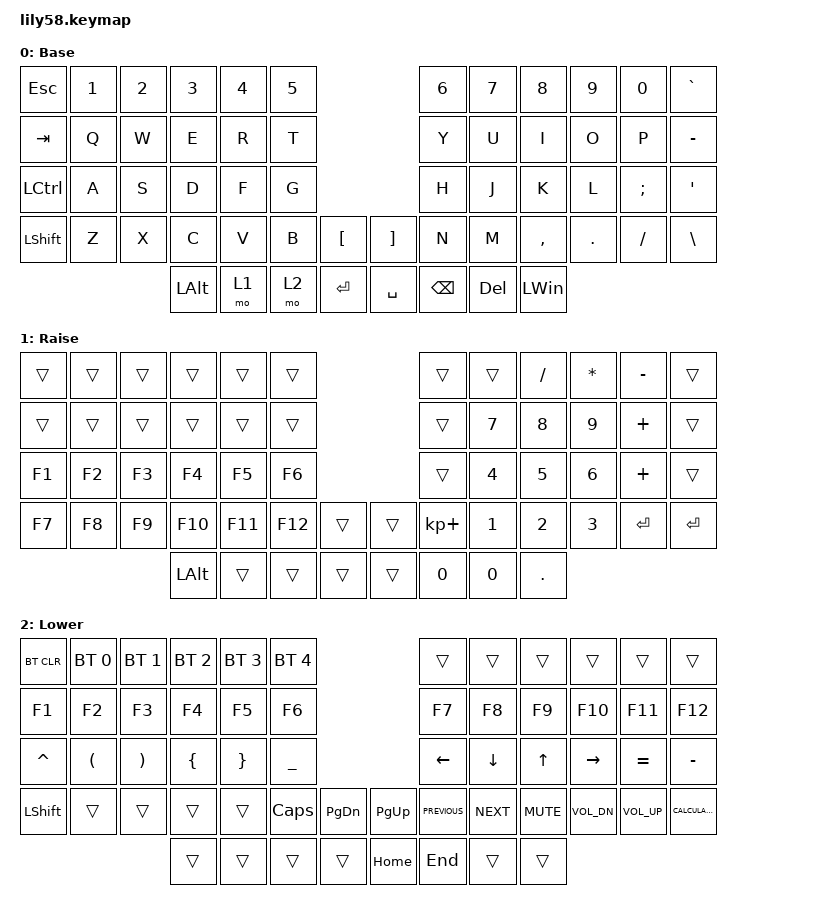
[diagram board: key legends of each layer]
/*
 * Copyright (c) 2020 The ZMK Contributors
 *
 * SPDX-License-Identifier: MIT
 */

#include <behaviors.dtsi>
#include <dt-bindings/zmk/bt.h>
#include <dt-bindings/zmk/keys.h>

/ {
    keymap {
        compatible = "zmk,keymap";

        default_layer {
            // ------------------------------------------------------------------------------------------------------------
            // |  ESC  |  1  |  2  |  3   |  4   |  5   |                   |  6   |  7    |  8    |  9   |   0   |   `   |
            // |  TAB  |  Q  |  W  |  E   |  R   |  T   |                   |  Y   |  U    |  I    |  O   |   P   |   -   |
            // |  CTRL |  A  |  S  |  D   |  F   |  G   |                   |  H   |  J    |  K    |  L   |   ;   |   '   |
            // | SHIFT |  Z  |  X  |  C   |  V   |  B   |   "["  |  |  "]"  |  N   |  M    |  ,    |  .   |   /   | SHIFT |
            //                     | ALT  | GUI  | LOWER|  SPACE |  | ENTER | RAISE| BSPC  | GUI   |

            display-name = "Base";
            bindings = <
&kp ESC    &kp N1  &kp N2  &kp N3    &kp N4  &kp N5                          &kp N6         &kp N7      &kp N8     &kp N9   &kp N0    &kp GRAVE
&kp TAB    &kp Q   &kp W   &kp E     &kp R   &kp T                           &kp Y          &kp U       &kp I      &kp O    &kp P     &kp MINUS
&kp LCTRL  &kp A   &kp S   &kp D     &kp F   &kp G                           &kp H          &kp J       &kp K      &kp L    &kp SEMI  &kp SQT
&kp LSHFT  &kp Z   &kp X   &kp C     &kp V   &kp B   &kp LBKT     &kp RBKT   &kp N          &kp M       &kp COMMA  &kp DOT  &kp FSLH  &kp BACKSLASH
                           &kp LALT  &mo 1   &mo 2   &kp ENTER    &kp SPACE  &kp BACKSPACE  &kp DELETE  &kp LWIN
            >;
        };

        raise_layer {
            // ------------------------------------------------------------------------------------------------------------
            // |       |     |     |      |      |      |                   |      |       |       |      |       |       |
            // |   `   |  1  |  2  |  3   |  4   |  5   |                   |  6   |   7   |   8   |  9   |   0   |       |
            // |   F1  |  F2 |  F3 |  F4  |  F5  |  F6  |                   |      |   <-  |   v   |  ^   |  ->   |       |
            // |   F7  |  F8 |  F9 |  F10 |  F11 |  F12 |        |  |       |  +   |   -   |   =   |  [   |   ]   |   \   |
            //                     |      |      |      |        |  |       |      |       |       |

            display-name = "Raise";
            bindings = <
&trans  &trans  &trans  &trans        &trans   &trans                     &trans       &trans        &kp SLASH     &kp ASTERISK  &kp MINUS  &trans
&trans  &trans  &trans  &trans        &trans   &trans                     &trans       &kp N7        &kp N8        &kp N9        &kp PLUS   &trans
&kp F1  &kp F2  &kp F3  &kp F4        &kp F5   &kp F6                     &trans       &kp NUMBER_4  &kp N5        &kp NUMBER_6  &kp PLUS   &trans
&kp F7  &kp F8  &kp F9  &kp F10       &kp F11  &kp F12  &trans    &trans  &kp KP_PLUS  &kp NUMBER_1  &kp NUMBER_2  &kp NUMBER_3  &kp ENTER  &kp ENTER
                        &kp LEFT_ALT  &trans   &trans   &trans    &trans  &kp N0       &kp N0        &kp PERIOD
            >;
        };

        lower_layer {
            // ------------------------------------------------------------------------------------------------------------
            // | BTCLR | BT1 | BT2 |  BT3 |  BT4 |  BT5 |                   |      |       |       |      |       |       |
            // |  F1   |  F2 |  F3 |  F4  |  F5  |  F6  |                   |  F7  |  F8   |  F9   |  F10 |  F11  |  F12  |
            // |   `   |  !  |  @  |  #   |  $   |  %   |                   |  ^   |  &    |  *    |  (   |   )   |   ~   |
            // |       |     |     |      |      |      |        |  |       |      |  _    |  +    |  {   |   }   |  "|"  |
            //                     |      |      |      |        |  |       |      |       |       |

            display-name = "Lower";
            bindings = <
&bt BT_CLR      &bt BT_SEL 0          &bt BT_SEL 1           &bt BT_SEL 2    &bt BT_SEL 3     &bt BT_SEL 4                                &trans          &trans      &trans      &trans        &trans           &trans
&kp F1          &kp F2                &kp F3                 &kp F4          &kp F5           &kp F6                                      &kp F7          &kp F8      &kp F9      &kp F10       &kp F11          &kp F12
&kp CARET       &kp LEFT_PARENTHESIS  &kp RIGHT_PARENTHESIS  &kp LEFT_BRACE  &kp RIGHT_BRACE  &kp UNDER                                   &kp LEFT        &kp DOWN    &kp UP      &kp RIGHT     &kp EQUAL        &kp MINUS
&kp LEFT_SHIFT  &trans                &trans                 &trans          &trans           &kp CAPSLOCK  &kp PAGE_DOWN    &kp PAGE_UP  &kp K_PREVIOUS  &kp K_NEXT  &kp K_MUTE  &kp C_VOL_DN  &kp C_VOLUME_UP  &kp K_CALCULATOR
                                                             &trans          &trans           &trans        &trans           &kp HOME     &kp END         &trans      &trans
            >;
        };
    };
};
